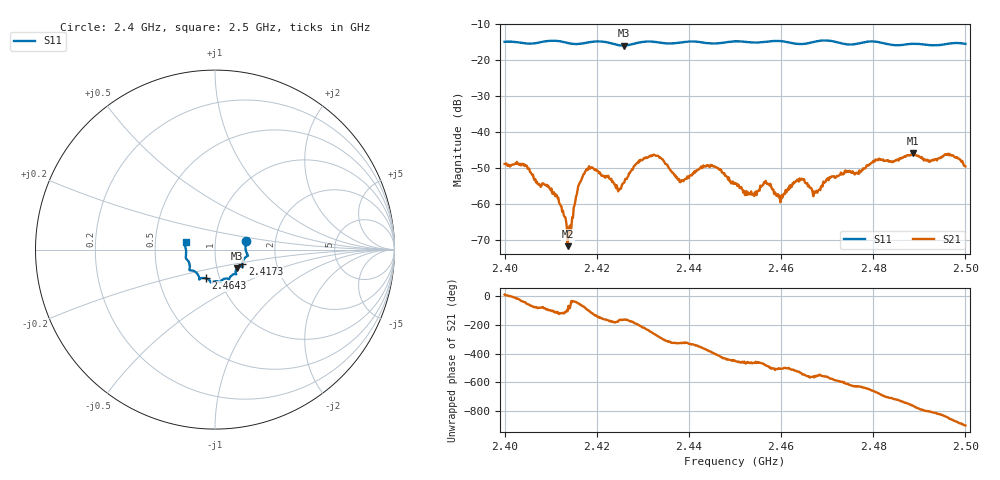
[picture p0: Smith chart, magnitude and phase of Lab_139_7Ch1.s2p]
# Hz S RI R 50
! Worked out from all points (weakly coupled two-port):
!   601 points, 2.4 GHz to 2.5 GHz, reference 50 ohm
!   highest |S21| = -45.98 dB at 2.4887 GHz (marker M1); lowest = -71.8 dB at 2.4137 GHz (marker M2)
!   lowest |S11| = -15.9 dB at 2.4258 GHz (marker M3), VSWR 1.38, Z = 62.3 - j13.3 ohm
!   |S11| at or under -10 dB: start of sweep to end of sweep
!   S12 and S22 are empty: the file has one direction only
!   S11 on the Smith chart (normalised r, x): 2.4 GHz: 1.41, +0.14; 2.4173 GHz: 1.34, -0.23; 2.4643 GHz: 0.86, -0.28; 2.5 GHz: 0.72, +0.06
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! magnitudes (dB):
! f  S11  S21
! 2.4 GHz  -14.9  -48.9
! 2.4043 GHz  -15.3  -49.5
! 2.4097 GHz  -14.6  -55.5
! 2.4118 GHz  -14.7  -59.7
! 2.4137 GHz  -15.2  -71.8
! 2.4142 GHz  -15.3  -66.1
! 2.4167 GHz  -15.4  -53.3
! 2.4173 GHz  -15.2  -51.6
! 2.4258 GHz  -15.9  -54.2
! 2.429 GHz  -15.1  -48.6
! 2.4333 GHz  -15.0  -46.7
! 2.438 GHz  -15.1  -53.9
! 2.4445 GHz  -15.3  -49.8
! 2.45 GHz  -14.7  -54.3
! 2.4542 GHz  -15.1  -57.8
! 2.4568 GHz  -14.9  -54.3
! 2.46 GHz  -14.7  -58.8
! 2.4643 GHz  -15.5  -53.1
! 2.4667 GHz  -15.0  -55.9
! 2.4833 GHz  -15.6  -48.3
! 2.4887 GHz  -15.4  -46.0
! 2.5 GHz  -15.4  -49.6
